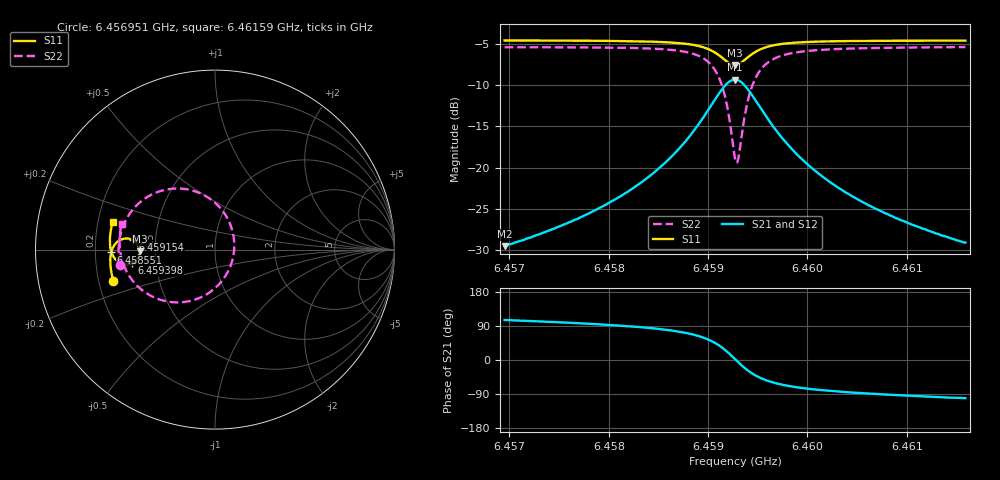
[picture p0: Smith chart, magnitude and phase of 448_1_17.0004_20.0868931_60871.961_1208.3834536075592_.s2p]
#  HZ  S  RI  R  50.00
! Rohde & Schwarz Vector Network Analyzer
! Rohde-Schwarz,ZNB20-2Port,1311601062101988,3.16
! Created: UTC 3/20/2024, 11:12:08 PM
! freq[Hz]  re:S11  im:S11  re:S21  im:S21  re:S12  im:S12  re:S22  im:S22
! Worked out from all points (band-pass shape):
!   401 points, 6.456951 GHz to 6.46159 GHz, reference 50 ohm
!   highest |S21| = -9.30 dB at 6.45927 GHz (marker M1); lowest = -29.6 dB at 6.456951 GHz (marker M2)
!   |S21| within 3 dB of the highest: 6.459039 GHz to 6.459502 GHz (463.8 kHz wide, 0.00718 % of centre)
!   lowest |S11| = -7.5 dB at 6.45927 GHz (marker M3), VSWR 2.45, Z = 20.4 - j0.525 ohm
!   |S11| at or under -10 dB: nowhere
!   |S22| runs from -19.4 to -5.4 dB; largest |S21 - S12| = 0.013
!   S11 on the Smith chart (normalised r, x): 6.456951 GHz: 0.26, -0.14; 6.458551 GHz: 0.27, -0.01; 6.459154 GHz: 0.37, +0.05; 6.459398 GHz: 0.37, -0.07; 6.46159 GHz: 0.26, +0.12
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6.456951e9  -0.5661 -0.1741  -0.00888 0.032  -0.00725 0.0321  -0.5314 -0.087
6.457728e9  -0.5805 -0.1065  -0.00574 0.0499  -0.00328 0.0493  -0.5373 0.00333
6.4581338e9  -0.5835 -0.0661  -0.000503 0.0679  0.00278 0.0666  -0.5303 0.0664
6.4585049e9  -0.5799 -0.0221  0.0137 0.0978  0.0177 0.0952  -0.5044 0.1481
6.4585513e9  -0.5784 -0.0159  0.0171 0.1033  0.0212 0.1004  -0.498 0.1613
6.4587716e9  -0.5652 0.0179  0.0453 0.137  0.0494 0.1321  -0.4454 0.2373
6.4589224e9  -0.5428 0.0441  0.0902 0.1673  0.0934 0.1606  -0.3628 0.3016
6.4590615e9  -0.4993 0.0617  0.1767 0.1839  0.1776 0.1765  -0.2047 0.3407
6.4591543e9  -0.4552 0.0518  0.266 0.1529  0.2662 0.1471  -0.0394 0.2909
6.4592007e9  -0.4342 0.0331  0.3092 0.1105  0.3105 0.1053  0.043 0.2152
6.4592703e9  -0.4195 -0.0106  0.3423 0.0144  0.346 0.00756  0.1075 0.0368
6.4592819e9  -0.4198 -0.0185  0.3421 -0.00334  0.3459 -0.0108  0.1071 0.00356
6.459305e9  -0.4234 -0.034  0.3367 -0.0376  0.3404 -0.0467  0.0962 -0.0617
6.4593514e9  -0.4389 -0.0598  0.3085 -0.0971  0.3105 -0.1089  0.0391 -0.1741
6.4593978e9  -0.4608 -0.0759  0.2668 -0.1379  0.2659 -0.151  -0.0451 -0.2485
6.4594906e9  -0.5037 -0.0826  0.1827 -0.1688  0.1766 -0.1801  -0.2126 -0.294
6.4596413e9  -0.5472 -0.0621  0.0955 -0.1551  0.087 -0.1612  -0.3787 -0.2452
6.4598153e9  -0.5695 -0.0325  0.0489 -0.1257  0.0415 -0.1283  -0.4622 -0.169
6.4600472e9  -0.5812 0.00109  0.0221 -0.0964  0.0162 -0.097  -0.5062 -0.0917
6.4603951e9  -0.5856 0.0422  0.00606 -0.0696  0.00218 -0.0692  -0.5276 -0.0129
6.4608242e9  -0.5835 0.0851  -0.00154 -0.0513  -0.00422 -0.0505  -0.5317 0.0553
6.4615895e9  -0.5711 0.1528  -0.00648 -0.0344  -0.00818 -0.0334  -0.5201 0.1452
